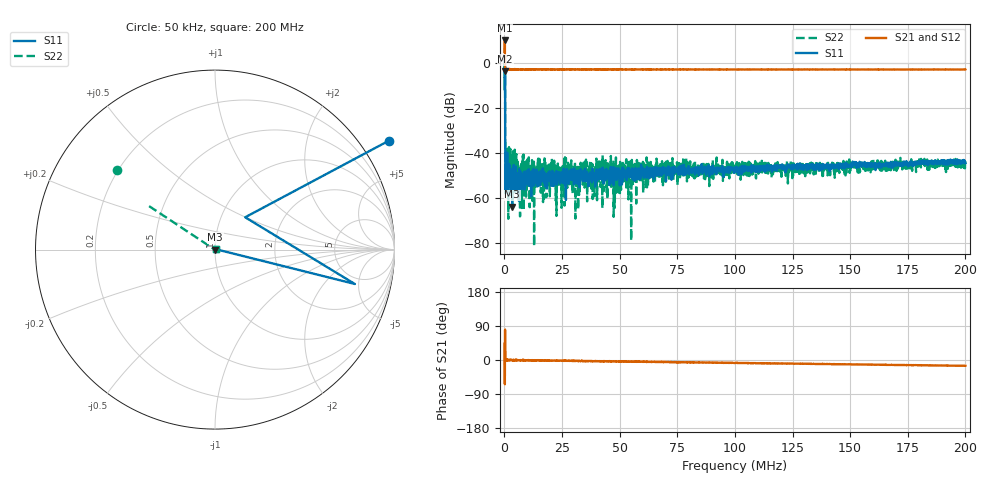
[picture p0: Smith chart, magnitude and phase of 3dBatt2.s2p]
! 19-Feb-26 2:54:25 PM
! E:\VNA_MEASUREMENTS\RECBLOCK\3DBATT2.S2P
! CHANNEL.1
! TR.MEASUREMENT
! CORRECTED.DATA
# GHZ S RI R 50.0
! FREQ.GHZ  S11RE  S11IM  S21RE  S21IM  S12RE  S12IM  S22RE  S22IM
!; PortSelection: Port_12
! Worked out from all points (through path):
!   2000 points, 50 kHz to 200 MHz, reference 50 ohm
!   highest |S21| = 9.87 dB at 150 kHz (marker M1); lowest = -3.9 dB at 250 kHz (marker M2)
!   lowest |S11| = -64.0 dB at 3.351 MHz (marker M3), VSWR 1.00, Z = 50 + j0.0514 ohm
!   |S11| at or under -10 dB: 133.8 kHz to 171.1 kHz (37.35 kHz wide, 24.5 % of centre); 267 kHz to end of sweep
!   |S22| runs from -81.4 to 3.6 dB; largest |S21 - S12| = 3
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5e-05  0.9707 0.6078  1.277 1.189  0.4993 0.5909  -0.5436 0.4409
0.000150025  0.1682 0.1801  1.371 -2.798  0.7513 0.1197  0.9257 -1.207
0.00025005  0.7792 -0.1917  0.1107 0.632  1.113 0.00474  -0.367 0.2422
0.001150275  0.00824 0.00586  0.7064 0.0236  0.7107 -0.00079  0.00231 0.012
0.001350325  1e-07 -0.00251  0.7102 5.74e-05  0.6996 -0.0052  0.00273 0.000744
0.003350825  0.000372 0.000514  0.6918 -0.000616  0.7039 -0.0084  -0.00541 0.00357
0.006851701  0.00185 0.000135  0.7041 -0.00018  0.707 -0.00753  0.00211 0.00376
0.01075268  0.00181 0.000382  0.7081 -0.00674  0.71 -0.0098  0.00395 0.00182
0.01185295  0.00276 0.000441  0.7082 -0.0176  0.7056 -0.0117  4.35e-05 -0.00124
0.01465365  0.00259 0.000557  0.7032 -0.00501  0.71 -0.0136  0.00586 0.00462
0.01625405  0.00372 0.000558  0.7075 -0.0167  0.7103 -0.0167  0.0023 0.00106
0.02095523  0.00176 0.00165  0.7072 -0.0185  0.7043 -0.0168  0.00329 0.000658
0.02305575  0.00229 0.00174  0.7114 -0.0196  0.7064 -0.0204  0.00333 -0.00145
0.0316579  0.00189 0.00075  0.7101 -0.0277  0.7104 -0.0323  0.00309 -0.000489
0.03345835  0.00284 0.00175  0.7108 -0.0268  0.707 -0.033  0.00298 -0.00201
0.04626156  0.0021 0.000571  0.715 -0.0414  0.7075 -0.0421  -0.00111 0.00136
0.04836208  0.00391 0.00233  0.7042 -0.055  0.7058 -0.0472  0.00652 0.00446
0.06676668  0.0028 0.00306  0.7018 -0.0687  0.7045 -0.0638  0.00508 2.72e-05
0.100075  0.00377 0.0022  0.7014 -0.0964  0.7004 -0.0955  0.00306 0.00204
0.1333833  0.00397 0.00226  0.6959 -0.1257  0.6961 -0.1247  0.00339 0.0031
0.1666917  0.00445 0.00301  0.6889 -0.1554  0.6857 -0.1552  0.00426 0.00419
0.2  0.00513 0.00296  0.6833 -0.1861  0.6814 -0.1837  0.00339 0.00328
